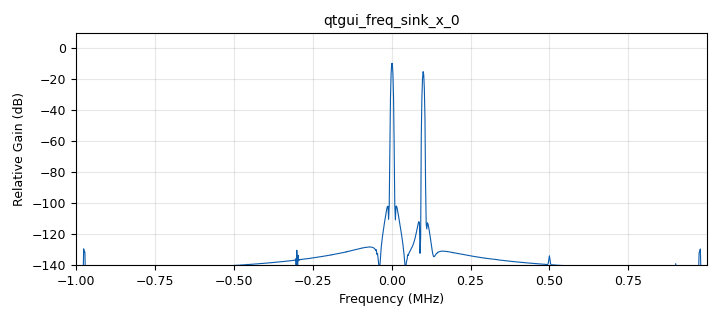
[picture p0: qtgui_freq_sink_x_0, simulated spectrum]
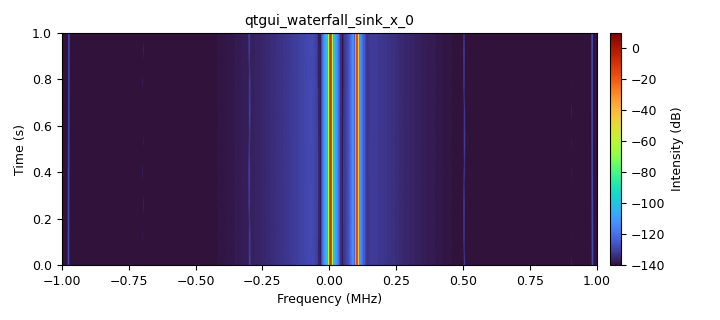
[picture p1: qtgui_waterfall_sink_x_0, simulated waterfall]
options:
  parameters:
    generate_options: qt_gui
    id: test
    output_language: python
    title: Not titled yet
  states: {}

blocks:
- name: amp
  id: variable_qtgui_range
  parameters:
    start: '0'
    step: '.1'
    stop: '10'
    value: '1'
  states: {}
- name: samp_rate
  id: variable
  parameters:
    value: 2e6
  states: {}
- name: analog_sig_source_x_0
  id: analog_sig_source_x
  parameters:
    amp: amp
    freq: '1000'
    offset: '0'
    phase: '0'
    samp_rate: samp_rate
    type: complex
    waveform: analog.GR_COS_WAVE
  states: {}
- name: analog_sig_source_x_1
  id: analog_sig_source_x
  parameters:
    amp: '.5'
    freq: '100000'
    offset: '0'
    phase: '0'
    samp_rate: samp_rate
    type: complex
    waveform: analog.GR_COS_WAVE
  states: {}
- name: blocks_add_xx_0
  id: blocks_add_xx
  parameters:
    type: complex
  states: {}
- name: blocks_throttle2_0
  id: blocks_throttle2
  parameters:
    samples_per_second: samp_rate
    type: complex
  states: {}
- name: qtgui_freq_sink_x_0
  id: qtgui_freq_sink_x
  parameters:
    bw: samp_rate
    fc: '0'
    fftsize: '1024'
    type: complex
  states: {}
- name: qtgui_waterfall_sink_x_0
  id: qtgui_waterfall_sink_x
  parameters:
    bw: samp_rate
    fc: '0'
    fftsize: '1024'
    type: complex
  states: {}

connections:
- [analog_sig_source_x_0, '0', blocks_add_xx_0, '0']
- [analog_sig_source_x_1, '0', blocks_add_xx_0, '1']
- [blocks_add_xx_0, '0', blocks_throttle2_0, '0']
- [blocks_throttle2_0, '0', qtgui_freq_sink_x_0, '0']
- [blocks_throttle2_0, '0', qtgui_waterfall_sink_x_0, '0']

metadata:
  file_format: 1
  grc_version: 3.10.6.0
